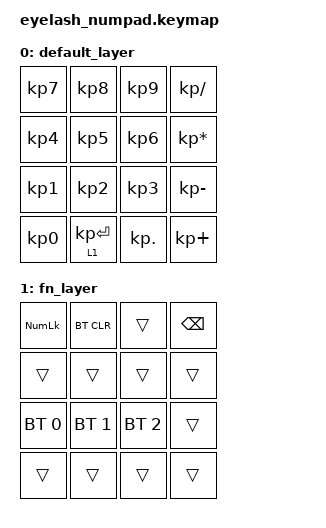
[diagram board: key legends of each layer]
#include <behaviors.dtsi>
#include <dt-bindings/zmk/keys.h>
#include <dt-bindings/zmk/bt.h>

&lt {
    tapping-term-ms = <200>; 
};

/ {
    keymap {
        compatible = "zmk,keymap";
        default_layer {
            bindings = <
&kp KP_N7  &kp KP_N8       &kp KP_N9   &kp KP_DIVIDE
&kp KP_N4  &kp KP_N5       &kp KP_N6   &kp KP_MULTIPLY
&kp KP_N1  &kp KP_N2       &kp KP_N3   &kp KP_MINUS
&kp KP_N0  &lt 1 KP_ENTER  &kp KP_DOT  &kp KP_PLUS
            >;
        };
        fn_layer {
            bindings = <
&kp KP_NUMLOCK  &bt BT_CLR     &trans          &kp BSPC
&trans          &trans         &trans          &trans
&bt BT_SEL 0    &bt BT_SEL 1   &bt BT_SEL 2    &trans
&trans          &trans         &trans          &trans
            >;
        };
    };
};
